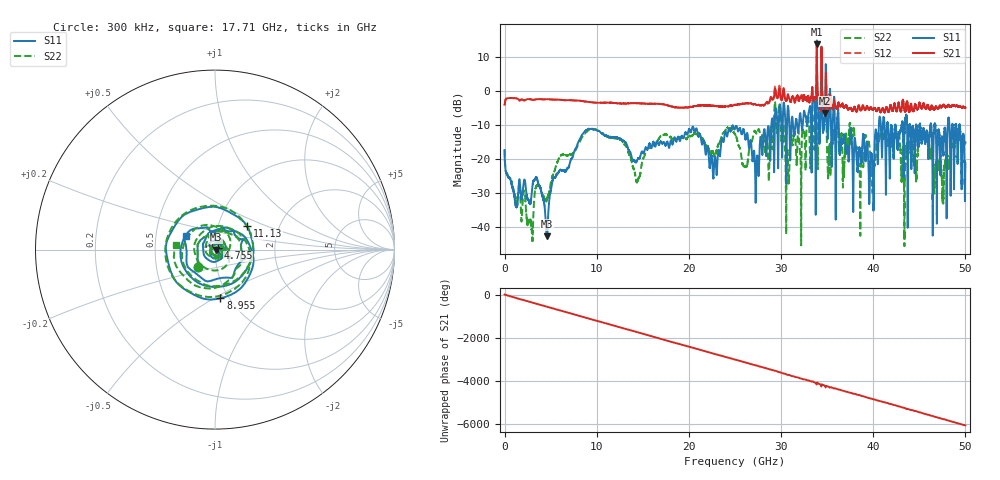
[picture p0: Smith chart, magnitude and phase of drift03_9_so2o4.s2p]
!Created with skrf (http://scikit-rf.org).
# Hz S RI R 50.0
!freq ReS11 ImS11 ReS21 ImS21 ReS12 ImS12 ReS22 ImS22
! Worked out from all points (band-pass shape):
!   10001 points, 300 kHz to 50 GHz, reference 50 ohm
!   highest |S21| = 13.93 dB at 33.88 GHz (marker M1); lowest = -6.4 dB at 34.79 GHz (marker M2)
!   |S21| within 3 dB of the highest: 33.86997 GHz to 33.88952 GHz (19.55 MHz wide, 0.0577 % of centre); 34.3767 GHz to 34.39151 GHz (14.82 MHz wide, 0.0431 % of centre)
!   lowest |S11| = -42.7 dB at 4.58 GHz (marker M3), VSWR 1.01, Z = 50.7 - j0.121 ohm
!   |S11| at or under -10 dB: start of sweep to 28.94 GHz; 36.26 GHz to 40.61 GHz (4.347 GHz wide, 11.3 % of centre); 46.74 GHz to 48.09 GHz (1.348 GHz wide, 2.84 % of centre) (the widest 3 of 56)
!   |S22| runs from -45.6 to 10.4 dB; largest |S21 - S12| = 0.81
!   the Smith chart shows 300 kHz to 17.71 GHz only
!   S11 on the Smith chart (normalised r, x): 300 kHz: 0.81, -0.16; 4.755 GHz: 1.03, +0.02; 8.955 GHz: 0.91, -0.53; 11.13 GHz: 1.38, +0.38; 17.71 GHz: 0.72, +0.12
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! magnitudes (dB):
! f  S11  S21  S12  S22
! 300 kHz  -17.4  -4.0  -4.0  -17.2
! 2.825 GHz  -32.6  -2.4  -2.4  -38.8
! 4.58 GHz  -42.7  -2.3  -2.3  -31.6
! 4.755 GHz  -35.4  -2.3  -2.4  -30.4
! 8.335 GHz  -13.1  -2.8  -2.8  -13.9
! 8.955 GHz  -11.3  -3.1  -3.1  -11.7
! 11.13 GHz  -13.1  -3.4  -3.4  -13.4
! 14.43 GHz  -20.0  -3.5  -3.5  -26.5
! 16.67 GHz  -15.5  -3.7  -3.7  -14.3
! 17.71 GHz  -15.1  -4.1  -4.1  -13.3
! 22.82 GHz  -19.3  -4.3  -4.3  -19.1
! 25 GHz  -11.0  -4.0  -4.0  -12.5
! 27.39 GHz  -19.3  -4.1  -4.1  -12.3
! 29.6 GHz  -10.4  -2.0  -2.1  -11.8
! 30.7 GHz  -5.5  -1.4  -1.5  -17.2
! 33.34 GHz  -13.3  -0.5  -0.6  -7.4
! 33.88 GHz  15.0  13.9  13.6  10.4
! 34.79 GHz  -3.1  -6.4  -5.0  -8.7
! 39.81 GHz  -18.5  -5.0  -4.9  -23.6
! 41.67 GHz  -12.5  -6.0  -6.0  -15.3
! 47.57 GHz  -17.8  -4.3  -4.3  -30.6
! 50 GHz  -21.2  -4.9  -4.9  -15.1
